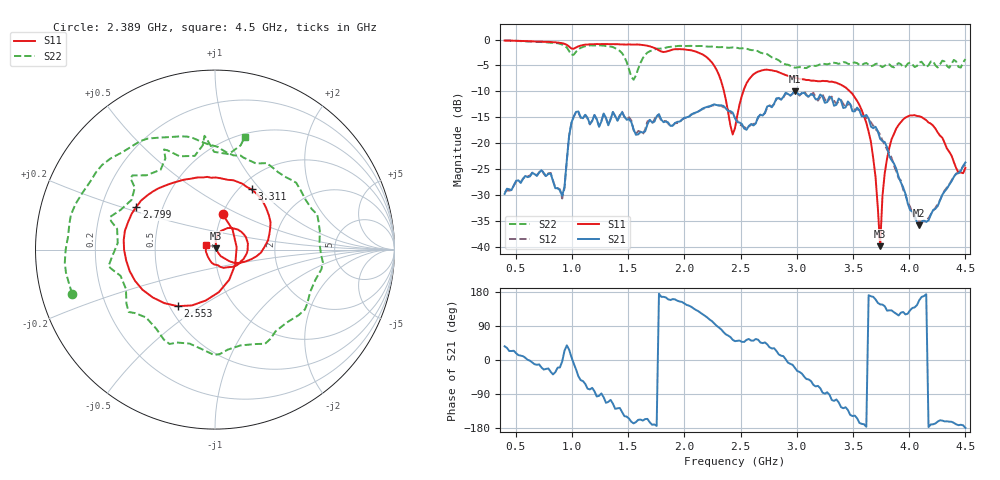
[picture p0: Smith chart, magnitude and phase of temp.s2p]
! Anritsu VNA Master:  Model: MS2036C/2
! SN:  2120025
! /bd0/ab_5.s2p
! Existing Calibration Information:
! TYPE:  Current Settings,  Active Cal Settings
! TIME:  03/02/2026 03:02:49 AM,  03/02/2026 02:47:23 AM
! INTERNAL TEMP:  53.8 C,  51.8 C
! # POINTS:  201,  201
! START FREQ:  400.000 MHz,  400.000 MHz
! STOP FREQ:  4.500 GHz,  4.500 GHz
! SOURCE POWER:  High,  High
! IFBW:  10 kHz,  10 kHz
! AVG FACTOR:  1 ,  1
! REF PLANE 1:  0 mm,  0 mm
! REF PLANE 2:  0 mm,  0 mm
! CAL TYPE:  Full 2 Port,  Full 2 Port
! CAL METHOD:  SOLT,  SOLT
! CAL LINE TYPE:  Coax,  Coax
! DUT PORT 1:  N-Conn(M),  N-Conn(M)
! DUT PORT 2:  N-Conn(M),  N-Conn(M)
! CAL STATUS:  OK: Accuracy High,  --
# GHZ S DB R 50.0
! FREQ.GHZ  S11DB  S11A  S21DB  S21A  S12DB  S12A  S22DB  S22A
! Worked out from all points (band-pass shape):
!   201 points, 400 MHz to 4.5 GHz, reference 50 ohm
!   highest |S21| = -9.96 dB at 2.983 GHz (marker M1); lowest = -35.9 dB at 4.09 GHz (marker M2)
!   |S21| within 3 dB of the highest: 2.206 GHz to 2.354 GHz (147.9 MHz wide, 6.49 % of centre); 2.781 GHz to 3.41 GHz (628.8 MHz wide, 20.3 % of centre)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
!   lowest |S11| = -39.9 dB at 3.741 GHz (marker M3), VSWR 1.02, Z = 50.7 + j0.759 ohm
!   |S11| at or under -10 dB: 2.352 GHz to 2.524 GHz (172 MHz wide, 7.06 % of centre); 3.472 GHz to end of sweep
!   |S22| runs from -7.7 to -0.2 dB; largest |S21 - S12| = 0.03
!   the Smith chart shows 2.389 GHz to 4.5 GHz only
!   S11 on the Smith chart (normalised r, x): 2.389 GHz: 1.01, +0.41; 2.553 GHz: 0.55, -0.40; 2.799 GHz: 0.35, +0.22; 3.311 GHz: 1.13, +0.90; 4.5 GHz: 0.90, +0.05
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0.4  -0.18 -88.8  -29.79 36.2  -29.46 34.4  -0.17 -89.7
0.769  -0.43 -175.5  -26.33 -23.5  -26.47 -23.3  -0.53 -177.0
0.9125  -0.69 148.0  -30.14 -3.8  -30.69 -2.4  -0.97 144.9
0.9945  -1.71 129.0  -16.05 7.8  -16.14 7.2  -2.95 127.7
1.097  -1.05 109.7  -15.19 -55.6  -15.18 -54.9  -1.42 112.6
1.261  -0.86 68.8  -15.81 -88.3  -15.69 -87.8  -1.13 69.2
1.466  -0.95 18.5  -14.89 -148.2  -14.89 -147.5  -3.33 8.8
1.7735  -2.08 -58.0  -14.39 174.8  -14.78 171.6  -1.74 -24.1
1.9785  -1.87 -103.8  -15.47 153.2  -15.44 152.6  -1.23 -72.5
2.163  -2.89 -160.8  -13.29 120.4  -13.41 120.2  -1.23 -113.9
2.3885  -13.94 77.5  -13.78 64.4  -13.58 63.8  -1.58 -162.9
2.45  -17.09 -36.2  -15.17 49.7  -15.08 52.6  -1.51 -175.0
2.5525  -8.45 -123.5  -17.42 53.1  -17.13 51.9  -1.75 161.9
2.7985  -6.05 151.4  -12.34 30.9  -12.47 29.9  -3.60 107.2
2.983  -7.37 115.4  -9.96 -20.9  -9.90 -20.6  -5.43 79.1
3.147  -7.92 89.5  -10.74 -65.6  -10.26 -63.5  -5.04 56.0
3.311  -8.12 58.8  -11.28 -105.5  -11.00 -99.6  -4.41 19.0
3.6185  -16.05 -28.1  -14.55 -176.3  -15.04 -177.6  -4.52 -62.0
3.7415  -39.88 47.6  -19.17 146.7  -18.31 148.3  -5.03 -97.2
3.8235  -20.82 78.5  -22.59 131.0  -21.95 132.3  -4.77 -119.5
4.09  -14.80 -0.8  -35.87 158.0  -35.10 157.0  -4.42 164.6
4.5  -24.78 152.8  -23.73 -179.1  -24.20 177.8  -3.77 75.2
